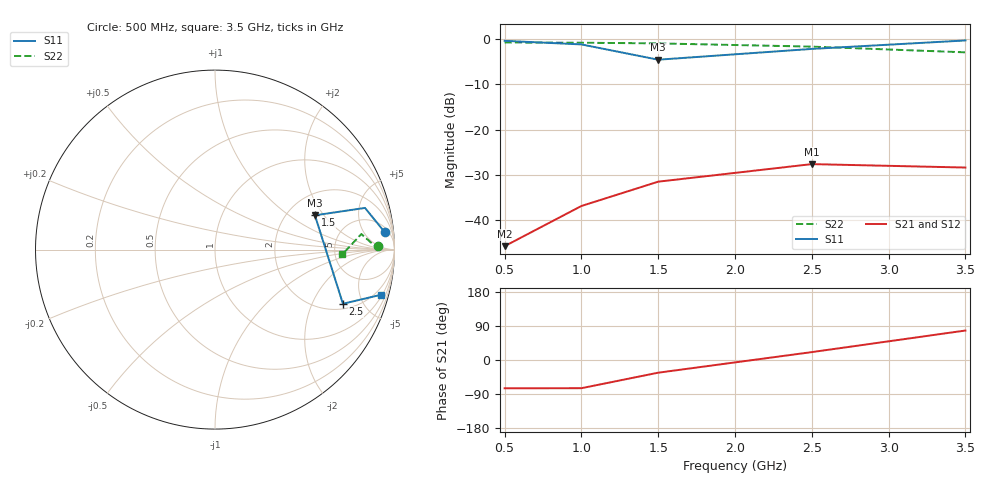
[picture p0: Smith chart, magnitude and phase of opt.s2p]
#  Hz  Z  RI  R  1
! optimized zs and zl for cgh40025
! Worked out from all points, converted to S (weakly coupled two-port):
!   5 points, 500 MHz to 3.5 GHz, reference 1 ohm
!   highest |S21| = -27.61 dB at 2.5 GHz (marker M1); lowest = -45.7 dB at 500 MHz (marker M2)
!   lowest |S11| = -4.6 dB at 1.5 GHz (marker M3), VSWR 3.86, Z = 2.81 + j1.64 ohm
!   |S11| at or under -10 dB: nowhere
!   |S22| runs from -3.0 to -0.8 dB; largest |S21 - S12| = 2.8e-17
!   S11 on the Smith chart (normalised r, x): 500 MHz: 8, +16; 1.5 GHz: 2.81, +1.64; 2.5 GHz: 2.31, -3.48; 3.5 GHz: 1.16, -7.31
5e8  7.75 15.5  1 0  1 0  20 5.2
1e9  3.11 5.72  1 0  1 0  17.6 6.66
1.5e9  2.86 1.63  1 0  1 0  16.8 3.2
2.5e9  2.4 -3.52  1 0  1 0  8.02 4.32
3.5e9  1.31 -7.3  1 0  1 0  5.85 -0.51
